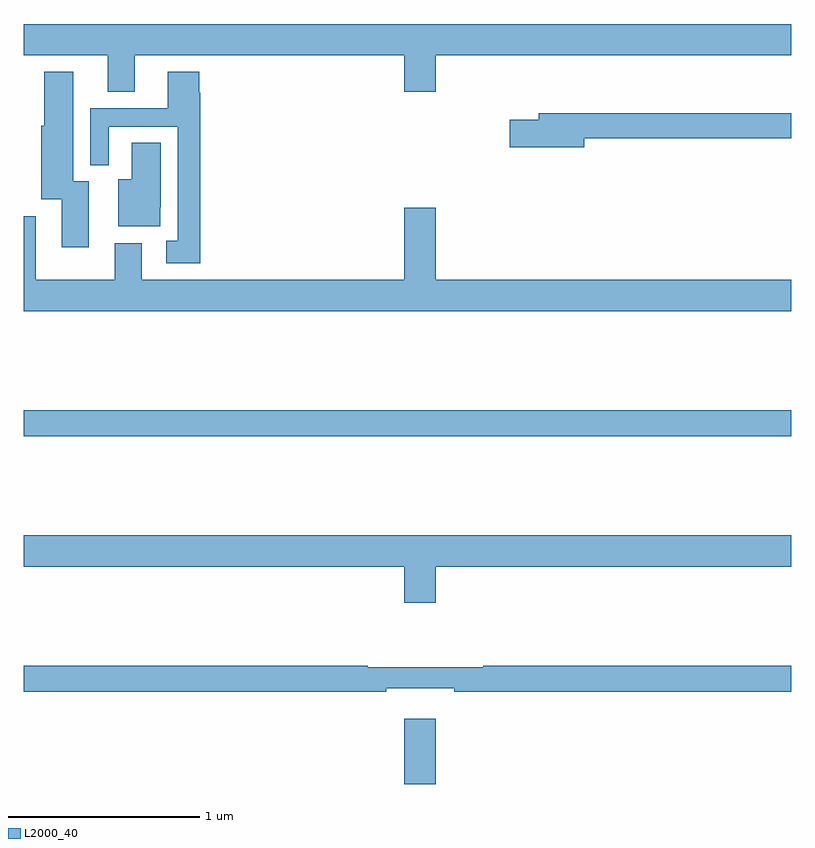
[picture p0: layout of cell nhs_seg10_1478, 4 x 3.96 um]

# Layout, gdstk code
import gdstk
lib = gdstk.Library(unit=1e-6, precision=1e-09)
def R(c, l, rs):  # rectangles x0, y0, x1, y1
    for r in rs: c.add(gdstk.rectangle(r[:2], r[2:], *l))
def P(c, l, *ps):  # polygons
    for p in ps: c.add(gdstk.Polygon(p, *l))
L2000_40 = (2000, 40)

nhs_seg10_1478 = lib.new_cell('nhs_seg10_1478')
R(nhs_seg10_1478, L2000_40, [(188.984,1316.5,189.148,1316.839), (187,1318.312,191,1318.448)])
P(nhs_seg10_1478, L2000_40, [(187.579,1320.296),(188.984,1320.296),(188.984,1320.108),(189.148,1320.108),(189.148,1320.296),(191,1320.296),(191,1320.46),(187,1320.46),(187,1320.296),(187.439,1320.296),(187.439,1320.106),(187.579,1320.106)],
  [(187.921,1320.101),(187.916,1320.101),(187.916,1320.211),(187.751,1320.211),(187.751,1320.021),(187.347,1320.021),(187.347,1319.724),(187.443,1319.724),(187.443,1319.925),(187.802,1319.925),(187.802,1319.33),(187.743,1319.33),(187.743,1319.213),(187.921,1319.213)],
  [(187.339,1319.641),(187.258,1319.641),(187.258,1320.211),(187.106,1320.211),(187.106,1319.931),(187.091,1319.931),(187.091,1319.547),(187.199,1319.547),(187.199,1319.298),(187.339,1319.298)],
  [(189.922,1319.866),(191,1319.866),(191,1319.995),(189.683,1319.995),(189.683,1319.961),(189.534,1319.961),(189.534,1319.819),(189.922,1319.819)],
  [(187.711,1319.506),(187.714,1319.506),(187.714,1319.84),(187.562,1319.84),(187.562,1319.65),(187.493,1319.65),(187.493,1319.405),(187.711,1319.405)],
  [(191,1319.128),(189.148,1319.128),(189.148,1319.503),(188.984,1319.503),(188.984,1319.128),(187.615,1319.128),(187.615,1319.317),(187.475,1319.317),(187.475,1319.128),(187.063,1319.128),(187.063,1319.458),(187,1319.458),(187,1318.964),(191,1318.964)],
  [(189.148,1317.632),(191,1317.632),(191,1317.796),(187,1317.796),(187,1317.632),(188.984,1317.632),(188.984,1317.444),(189.148,1317.444)],
  [(188.888,1316.999),(189.244,1316.999),(189.244,1316.98),(191,1316.98),(191,1317.116),(189.394,1317.116),(189.394,1317.109),(188.794,1317.109),(188.794,1317.116),(187,1317.116),(187,1316.98),(188.888,1316.98)])

lib.write_gds('nhs_seg10_1478.gds')
